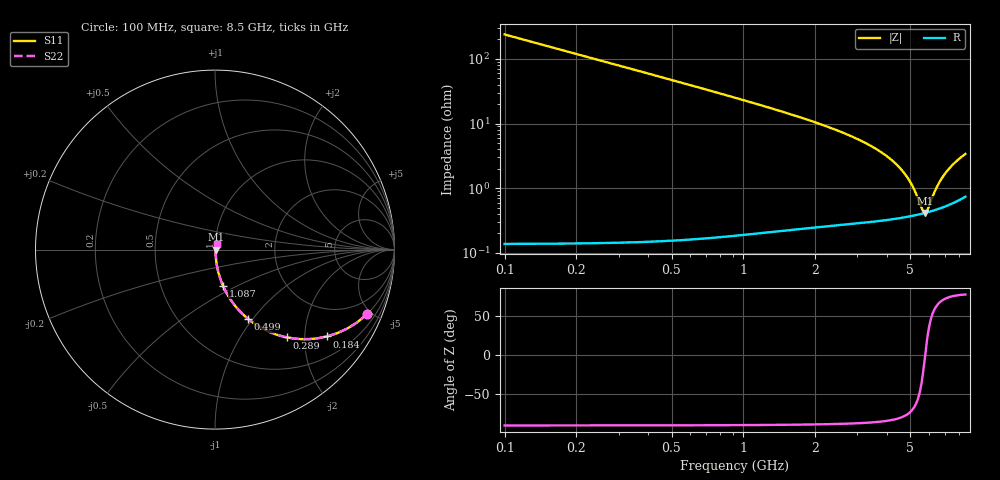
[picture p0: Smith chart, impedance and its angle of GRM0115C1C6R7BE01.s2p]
!Murata Part Number: GRM0115C1C6R7BE01
!These Parameters are Measured in Series Mode Connection
!Data Generated on Mar 30, 2021
!  o--ll--o
!Port1  Port2
!  o------o
!Operation Temp=25[degC], DC Bias Voltage=0[V]
!Freq. Start=100[MHz] Stop=9[GHz] 401[Steps]
# Hz S RI R 50
!Freq.(Hz) S11(Real) S11(Imag) S21(Real) S21(Imag) S12(Real) S12(Imag) S22(Real) S22(Imag)
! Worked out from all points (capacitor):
!   401 points, 100 MHz to 8.5 GHz, reference 50 ohm
!   read as one part in series: C = 6.7 pF near 142 MHz
!   lowest |Z| = 416 mohm at 5.749 GHz (marker M1)
!   series resonance near 5.768 GHz, so ESL is about 110 pH
!   S11 on the Smith chart (normalised r, x): 100 MHz: 1.00, -4.75; 184 MHz: 1.00, -2.58; 289 MHz: 1.00, -1.64; 499 MHz: 1.00, -0.94; 1.087 GHz: 1.00, -0.42; 8.5 GHz: 1.01, +0.07
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1e8  0.8492 -0.3575  0.1508 0.3575  0.1508 0.3575  0.8492 -0.3575
1.84e8  0.6243 -0.4838  0.3757 0.4838  0.3757 0.4838  0.6243 -0.4838
2.89e8  0.402 -0.4894  0.598 0.4894  0.598 0.4894  0.402 -0.4894
3.94e8  0.2651 -0.4401  0.7349 0.4401  0.7349 0.4401  0.2651 -0.4401
4.99e8  0.1831 -0.3851  0.8169 0.3851  0.8169 0.3851  0.1831 -0.3851
7.3e8  0.094 -0.2892  0.906 0.2892  0.906 0.2892  0.094 -0.2892
1.087e9  0.044 -0.2006  0.956 0.2006  0.956 0.2006  0.044 -0.2006
1.507e9  0.0231 -0.1427  0.9769 0.1427  0.9769 0.1427  0.0231 -0.1427
2.914e9  0.00644 -0.06  0.9936 0.06  0.9936 0.06  0.00644 -0.06
4.3e9  0.00394 -0.0244  0.9961 0.0244  0.9961 0.0244  0.00394 -0.0244
4.678e9  0.00382 -0.0173  0.9962 0.0173  0.9962 0.0173  0.00382 -0.0173
4.993e9  0.00382 -0.0119  0.9962 0.0119  0.9962 0.0119  0.00382 -0.0119
5.245e9  0.00388 -0.0078  0.9961 0.0078  0.9961 0.0078  0.00388 -0.0078
5.602e9  0.00404 -0.0024  0.996 0.0024  0.996 0.0024  0.00404 -0.0024
5.707e9  0.0041 -0.000874  0.9959 0.000874  0.9959 0.000874  0.0041 -0.000874
5.749e9  0.00413 -0.000273  0.9959 0.000273  0.9959 0.000273  0.00413 -0.000273
5.896e9  0.00424 0.0018  0.9958 -0.0018  0.9958 -0.0018  0.00424 0.0018
6.253e9  0.00455 0.00664  0.9955 -0.00664  0.9955 -0.00664  0.00455 0.00664
6.505e9  0.00482 0.0099  0.9952 -0.0099  0.9952 -0.0099  0.00482 0.0099
7.114e9  0.00563 0.0174  0.9944 -0.0174  0.9944 -0.0174  0.00563 0.0174
7.744e9  0.00673 0.0245  0.9933 -0.0245  0.9933 -0.0245  0.00673 0.0245
8.5e9  0.00842 0.0325  0.9916 -0.0325  0.9916 -0.0325  0.00842 0.0325
